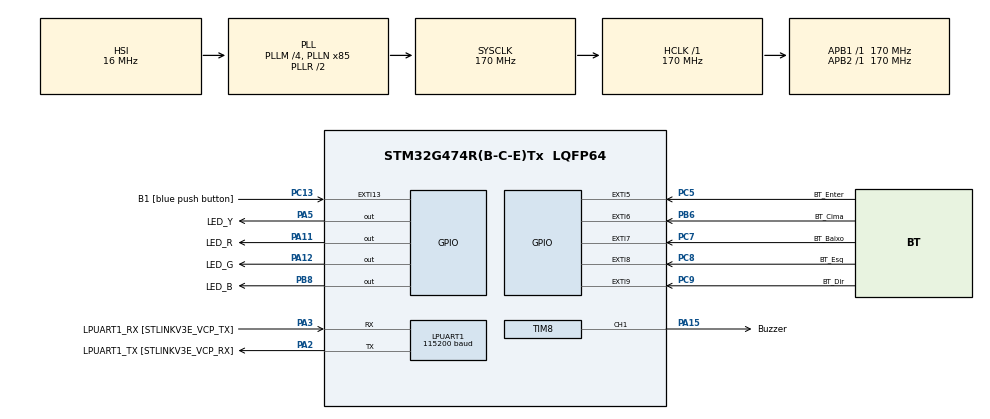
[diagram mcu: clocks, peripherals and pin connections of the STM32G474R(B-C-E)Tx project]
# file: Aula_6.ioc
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LPUART1.BaudRate=115200
LPUART1.WordLength=UART_WORDLENGTH_8B
Mcu.Family=STM32G4
Mcu.Name=STM32G474R(B-C-E)Tx
Mcu.Package=LQFP64
NVIC.EXTI15_10_IRQn=true\:0\:0\:false\:false\:true\:true\:true\:true
NVIC.EXTI9_5_IRQn=true\:0\:0\:false\:false\:true\:true\:true\:true
NVIC.LPUART1_IRQn=true\:0\:0\:false\:false\:true\:true\:true\:true
NVIC.PriorityGroup=NVIC_PRIORITYGROUP_4
NVIC.TIM6_DAC_IRQn=true\:0\:0\:false\:false\:true\:true\:true\:true
PA11.GPIO_Label=LED_R
PA11.Signal=GPIO_Output
PA12.GPIO_Label=LED_G
PA12.Signal=GPIO_Output
PA13.GPIO_Label=T_SWDIO
PA13.Mode=Serial_Wire
PA13.Signal=SYS_JTMS-SWDIO
PA14.GPIO_Label=T_SWCLK
PA14.Mode=Serial_Wire
PA14.Signal=SYS_JTCK-SWCLK
PA15.GPIO_Label=Buzzer
PA15.Signal=S_TIM8_CH1
PA2.GPIO_Label=LPUART1_TX [STLINKV3E_VCP_RX]
PA2.Mode=Asynchronous
PA2.Signal=LPUART1_TX
PA3.GPIO_Label=LPUART1_RX [STLINKV3E_VCP_TX]
PA3.Mode=Asynchronous
PA3.Signal=LPUART1_RX
PA5.GPIO_Label=LED_Y
PA5.Signal=GPIO_Output
PB3.GPIO_Label=T_SWO
PB3.Signal=SYS_JTDO-SWO
PB6.GPIO_Label=BT_Cima
PB6.GPIO_ModeDefaultEXTI=GPIO_MODE_IT_RISING_FALLING
PB6.Signal=GPXTI6
PB8-BOOT0.GPIO_Label=LED_B
PB8-BOOT0.Signal=GPIO_Output
PC13.GPIO_Label=B1 [blue push button]
PC13.GPIO_ModeDefaultEXTI=GPIO_MODE_IT_RISING_FALLING
PC13.Signal=GPXTI13
PC14-OSC32_IN.Mode=LSE-External-Oscillator
PC14-OSC32_IN.Signal=RCC_OSC32_IN
PC15-OSC32_OUT.Mode=LSE-External-Oscillator
PC15-OSC32_OUT.Signal=RCC_OSC32_OUT
PC5.GPIO_Label=BT_Enter
PC5.GPIO_ModeDefaultEXTI=GPIO_MODE_IT_RISING_FALLING
PC5.Signal=GPXTI5
PC7.GPIO_Label=BT_Baixo
PC7.GPIO_ModeDefaultEXTI=GPIO_MODE_IT_RISING_FALLING
PC7.Signal=GPXTI7
PC8.GPIO_Label=BT_Esq
PC8.GPIO_ModeDefaultEXTI=GPIO_MODE_IT_RISING_FALLING
PC8.Signal=GPXTI8
PC9.GPIO_Label=BT_Dir
PC9.GPIO_ModeDefaultEXTI=GPIO_MODE_IT_RISING_FALLING
PC9.Signal=GPXTI9
PF0-OSC_IN.Mode=HSE-External-Oscillator
PF0-OSC_IN.Signal=RCC_OSC_IN
PF1-OSC_OUT.Mode=HSE-External-Oscillator
PF1-OSC_OUT.Signal=RCC_OSC_OUT
ProjectManager.HeapSize=0x200
ProjectManager.StackSize=0x400
ProjectManager.TargetToolchain=STM32CubeIDE
RCC.ADC12Freq_Value=170000000
RCC.ADC345Freq_Value=170000000
RCC.AHBFreq_Value=170000000
RCC.APB1Freq_Value=170000000
RCC.APB1TimFreq_Value=170000000
RCC.APB2Freq_Value=170000000
RCC.APB2TimFreq_Value=170000000
RCC.CortexFreq_Value=170000000
RCC.EXTERNAL_CLOCK_VALUE=12288000
RCC.HCLKFreq_Value=170000000
RCC.HSE_VALUE=24000000
RCC.HSI48_VALUE=48000000
RCC.HSI_VALUE=16000000
RCC.PLLM=RCC_PLLM_DIV4
RCC.PLLN=85
RCC.RTCClockSelection=RCC_RTCCLKSOURCE_LSE
RCC.SYSCLKFreq_VALUE=170000000
RCC.SYSCLKSource=RCC_SYSCLKSOURCE_PLLCLK
RCC.USBFreq_Value=170000000
RCC.VCOOutputFreq_Value=340000000
SH.S_TIM8_CH1.0=TIM8_CH1,PWM Generation1 CH1
TIM2.Channel-Output\ Compare1\ No\ Output=TIM_CHANNEL_1
TIM2.PeriodNoDither=10000-1
TIM2.Prescaler=8500-1
TIM6.PeriodNoDither=1000-1
TIM6.Prescaler=85-1
TIM7.PeriodNoDither=10000-1
TIM7.Prescaler=8500-1
TIM8.Channel-PWM\ Generation1\ CH1=TIM_CHANNEL_1
TIM8.PeriodNoDither=1000-1
TIM8.Prescaler=85-1
TIM8.PulseNoDither_1=500
VP_SYS_VS_DBSignals.Mode=DisableDeadBatterySignals
VP_TIM2_VS_no_output1.Mode=Output Compare1 No Output
VP_TIM6_VS_ClockSourceINT.Mode=Enable_Timer
VP_TIM7_VS_ClockSourceINT.Mode=Enable_Timer
VP_TIM8_VS_ClockSourceINT.Mode=Internal
board=NUCLEO-G474RE

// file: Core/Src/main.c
/* USER CODE BEGIN Header */
/*
******************************************************************************
* @file    : main.c
* @brief   : Arquivo principal com a maquina de estados da maquina de cafe
******************************************************************************
* @author  : Lucca Bastos e Joao Vitor Roque
* @date    : 12-Mar-2026
* @version : 19-Mar-2026
******************************************************************************
*/
/* USER CODE END Header */
#include "main.h"
#include "usart.h"
#include "tim.h"
#include "gpio.h"

/* USER CODE BEGIN Includes */
#include <stdio.h>
#include <string.h>
#include "communicationStateMachine.h"
/* USER CODE END Includes */

/* USER CODE BEGIN PTD */
typedef enum {
  ESTADO_INICIAL, //IDLE
  ESTADO_SELECAO, // SELECTED
  ESTADO_PREPARANDO, //BREWING
  ESTADO_FINALIZANDO, //BIP
  ESTADO_ERRO // QUANTIDADE MÍNIMA AUSENTE
} xEstadoMaquina;

typedef enum {
  NENHUMA,
  EXPRESSO,    // CIMA: Amarelo
  CAPUCCINO,   // BAIXO: Vermelho
  MOCHA,       // ESQUERDA: Verde
  CHOCOLATE    // DIREITA: Azul
} xBebidaSelecionada;

/* USER CODE END PTD */

/* USER CODE BEGIN PV */
unsigned char ucRecBuff;
volatile xEstadoMaquina xEstadoAtual = ESTADO_INICIAL;
volatile xBebidaSelecionada xBebidaAtual = NENHUMA;
volatile uint16_t usContadorTempo = 0;

// Struct com os dados da maquina
MaquinaCafe_t xMaquinaDados = {
  .usCapacidadeMaxPo = 1000,
  .usPoAtualCap = 0,
  .usPoAtualMoc = 0,
  .usPoAtualCho = 0,
  .usPoAtualExp = 0,
  .ucVendasCap = 0,
  .ucVendasMoc = 0,
  .ucVendasCho = 0,
  .ucVendasExp = 0,
  .ucVendasTotais = 0
};
/* USER CODE END PV */

void SystemClock_Config(void);

int main(void)
{

  /* MCU Configuration--------------------------------------------------------*/

  /* Reset of all peripherals, Initializes the Flash interface and the Systick. */
  HAL_Init();

  /* Configure the system clock */
  SystemClock_Config();

  /* Initialize all configured peripherals */
  MX_GPIO_Init();
  MX_LPUART1_UART_Init();
  MX_TIM6_Init();
  MX_TIM7_Init();
  MX_TIM2_Init();
  MX_TIM8_Init();
  /* USER CODE BEGIN 2 */

  // Inicia o timer base 6 com interrupcao
  HAL_TIM_Base_Start_IT(&htim6);

  // Inicia a recepção por interrupção (esperando 1 byte por vez)
  HAL_UART_Receive_IT(&hlpuart1, &ucRecBuff, 1);

  /* USER CODE END 2 */

  /* Infinite loop */
  while (1)
  {

  }
}

void SystemClock_Config(void)
{
  RCC_OscInitTypeDef RCC_OscInitStruct = {0};
  RCC_ClkInitTypeDef RCC_ClkInitStruct = {0};

  /** Configure the main internal regulator output voltage
  */
  HAL_PWREx_ControlVoltageScaling(PWR_REGULATOR_VOLTAGE_SCALE1_BOOST);

  /** Initializes the RCC Oscillators according to the specified parameters
  * in the RCC_OscInitTypeDef structure.
  */
  RCC_OscInitStruct.OscillatorType = RCC_OSCILLATORTYPE_HSI;
  RCC_OscInitStruct.HSIState = RCC_HSI_ON;
  RCC_OscInitStruct.HSICalibrationValue = RCC_HSICALIBRATION_DEFAULT;
  RCC_OscInitStruct.PLL.PLLState = RCC_PLL_ON;
  RCC_OscInitStruct.PLL.PLLSource = RCC_PLLSOURCE_HSI;
  RCC_OscInitStruct.PLL.PLLM = RCC_PLLM_DIV4;
  RCC_OscInitStruct.PLL.PLLN = 85;
  RCC_OscInitStruct.PLL.PLLP = RCC_PLLP_DIV2;
  RCC_OscInitStruct.PLL.PLLQ = RCC_PLLQ_DIV2;
  RCC_OscInitStruct.PLL.PLLR = RCC_PLLR_DIV2;
  if (HAL_RCC_OscConfig(&RCC_OscInitStruct) != HAL_OK)
  {
    Error_Handler();
  }

  /** Initializes the CPU, AHB and APB buses clocks
  */
  RCC_ClkInitStruct.ClockType = RCC_CLOCKTYPE_HCLK|RCC_CLOCKTYPE_SYSCLK
                              |RCC_CLOCKTYPE_PCLK1|RCC_CLOCKTYPE_PCLK2;
  RCC_ClkInitStruct.SYSCLKSource = RCC_SYSCLKSOURCE_PLLCLK;
  RCC_ClkInitStruct.AHBCLKDivider = RCC_SYSCLK_DIV1;
  RCC_ClkInitStruct.APB1CLKDivider = RCC_HCLK_DIV1;
  RCC_ClkInitStruct.APB2CLKDivider = RCC_HCLK_DIV1;

  if (HAL_RCC_ClockConfig(&RCC_ClkInitStruct, FLASH_LATENCY_4) != HAL_OK)
  {
    Error_Handler();
  }
}

/* USER CODE BEGIN 4 */

/**
******************************************************************************
* @method : HAL_TIM_PeriodElapsedCallback
* @brief  : Gerencia o tempo de preparacao das bebidas e controle de hardware
* @param  : htim - Ponteiro para o handler do Timer
* @return : void
******************************************************************************
*/
void HAL_TIM_PeriodElapsedCallback(TIM_HandleTypeDef *htim) {
  // Verifica se a interrupcao veio do TIM6
  if (htim->Instance == TIM6) {
    // Incrementa a variavel de controle de tempo em milissegundos
    usContadorTempo++;

    switch (xEstadoAtual) {
      case ESTADO_INICIAL:
        if (usContadorTempo >= 1000) {
          // Todos os leds piscam a cada 1 segundo aguardando selecao
          HAL_GPIO_TogglePin(LED_R_GPIO_Port, LED_R_Pin);
          HAL_GPIO_TogglePin(LED_G_GPIO_Port, LED_G_Pin);
          HAL_GPIO_TogglePin(LED_B_GPIO_Port, LED_B_Pin);
          HAL_GPIO_TogglePin(LED_Y_GPIO_Port, LED_Y_Pin);
          // Zera o contador de tempo apos os leds piscarem
          usContadorTempo = 0;
        }
        break;

      case ESTADO_PREPARANDO:
        // Verifica se a preparacao da bebida ainda nao chegou a 20s
        if (usContadorTempo < 20000) {
          // A cada 1 segundo pisca o led correspondente
          if (usContadorTempo % 1000 == 0) {
            switch (xBebidaAtual) {
              case EXPRESSO:
                HAL_GPIO_TogglePin(LED_Y_GPIO_Port, LED_Y_Pin);
                break;
              case CAPUCCINO:
                HAL_GPIO_TogglePin(LED_R_GPIO_Port, LED_R_Pin);
                break;
              case MOCHA:
                HAL_GPIO_TogglePin(LED_G_GPIO_Port, LED_G_Pin);
                break;
              case CHOCOLATE:
                HAL_GPIO_TogglePin(LED_B_GPIO_Port, LED_B_Pin);
                break;
              default:
                break;
            }
          }
        } else {
          switch (xBebidaAtual) {
            case EXPRESSO:
              xMaquinaDados.ucVendasExp++;
              xMaquinaDados.ucVendasTotais++;
              xMaquinaDados.usPoAtualExp -= 100;
              break;
            case CAPUCCINO:
              xMaquinaDados.ucVendasCap++;
              xMaquinaDados.ucVendasTotais++;
              xMaquinaDados.usPoAtualCap -= 100;
              break;
            case MOCHA:
              xMaquinaDados.ucVendasMoc++;
              xMaquinaDados.ucVendasTotais++;
              xMaquinaDados.usPoAtualMoc -= 100;
              break;
            case CHOCOLATE:
              xMaquinaDados.ucVendasCho++;
              xMaquinaDados.ucVendasTotais++;
              xMaquinaDados.usPoAtualCho -= 100;
              break;
            default:
              break;
          }

          // Apos os 20s, muda para o estado final e apaga os leds
          xEstadoAtual = ESTADO_FINALIZANDO;
          usContadorTempo = 0;
          HAL_GPIO_WritePin(LED_R_GPIO_Port, LED_R_Pin, GPIO_PIN_RESET);
          HAL_GPIO_WritePin(LED_G_GPIO_Port, LED_G_Pin, GPIO_PIN_RESET);
          HAL_GPIO_WritePin(LED_B_GPIO_Port, LED_B_Pin, GPIO_PIN_RESET);
          HAL_GPIO_WritePin(LED_Y_GPIO_Port, LED_Y_Pin, GPIO_PIN_RESET);
        }
        break;

      case ESTADO_FINALIZANDO:
        // Acionamento do buzzer simulando 3 bipes com intervalos de 500ms
        if (usContadorTempo == 1) {
          HAL_TIM_PWM_Start(&htim8, TIM_CHANNEL_1);
        } else if (usContadorTempo == 500) {
          // Fim do primeiro bip
          HAL_TIM_PWM_Stop(&htim8, TIM_CHANNEL_1);
        } else if (usContadorTempo == 1000) {
          HAL_TIM_PWM_Start(&htim8, TIM_CHANNEL_1);
        } else if (usContadorTempo == 1500) {
          // Fim do segundo bipe
          HAL_TIM_PWM_Stop(&htim8, TIM_CHANNEL_1);
        } else if (usContadorTempo == 2000) {
          HAL_TIM_PWM_Start(&htim8, TIM_CHANNEL_1);
        } else if (usContadorTempo == 2500) {
          // Fim do terceiro bipe
          HAL_TIM_PWM_Stop(&htim8, TIM_CHANNEL_1);
        }
        if (usContadorTempo >= 3000) {
          // Finaliza o ciclo e retorna maquina para estado inicial
          HAL_TIM_PWM_Stop(&htim8, TIM_CHANNEL_1);
          xEstadoAtual = ESTADO_INICIAL;
          xBebidaAtual = NENHUMA;
          usContadorTempo = 0;
        }
        break;

      case ESTADO_ERRO:
        // Acionamento do buzzer 2 vezes rapidamente
        if (usContadorTempo == 1) { // Inicia bip 2
          HAL_TIM_PWM_Start(&htim8, TIM_CHANNEL_1);
        } else if (usContadorTempo == 200) {
          HAL_TIM_PWM_Stop(&htim8, TIM_CHANNEL_1); // Para bip 1
        } else if (usContadorTempo == 400) {
          HAL_TIM_PWM_Start(&htim8, TIM_CHANNEL_1); // Inicia bip 2
        } else if (usContadorTempo == 600) {
          HAL_TIM_PWM_Stop(&htim8, TIM_CHANNEL_1); // Para bip 2
        }

        // Após 1 segundo, retorna para estado inicial piscando as luzes
        if (usContadorTempo >= 1000) {
          HAL_TIM_PWM_Stop(&htim8, TIM_CHANNEL_1);
          xEstadoAtual = ESTADO_INICIAL;
          usContadorTempo = 0;
        }
        break;

      default:
        break;
    }
  }
}

/**
******************************************************************************
* @method : HAL_GPIO_EXTI_Callback
* @brief  : Identifica os botoes para selecao de bebidas e tocar o buzzer
* @param  : GPIO_Pin - Pino do microcontrolador que disparou a interrupcao
* @return : void
******************************************************************************
*/
void HAL_GPIO_EXTI_Callback(uint16_t GPIO_Pin) {
  // Ignora o input dos botoes durante o preparo
  if (xEstadoAtual == ESTADO_PREPARANDO) return;

  GPIO_PinState xEstadoBotao;

  // Mapeia a leitura do botao com a respectiva porta GPIO
  switch (GPIO_Pin) {
    case BT_Cima_Pin:
      // PB6
      xEstadoBotao = HAL_GPIO_ReadPin(GPIOB, GPIO_Pin);
      break;
    default:
      // PC5, PC7, PC8, PC9
      xEstadoBotao = HAL_GPIO_ReadPin(GPIOC, GPIO_Pin);
      break;
  }

  // Aciona o buzzer enquanto o botao estiver sendo mantido pressionado
  if (xEstadoBotao == GPIO_PIN_SET) {
    HAL_TIM_PWM_Start(&htim8, TIM_CHANNEL_1);
  } else {
    HAL_TIM_PWM_Stop(&htim8, TIM_CHANNEL_1);
  }

  // Verifica as funcoes de cada botao apenas no momento em que ele e acionado
  if (xEstadoBotao == GPIO_PIN_SET) {
    switch (GPIO_Pin) {
      case BT_Cima_Pin:
        // Seleciona Expresso e mantem o led amarelo aceso
        xBebidaAtual = EXPRESSO;
        xEstadoAtual = ESTADO_SELECAO;
        HAL_GPIO_WritePin(LED_Y_GPIO_Port, LED_Y_Pin, GPIO_PIN_SET);
        HAL_GPIO_WritePin(LED_R_GPIO_Port, LED_R_Pin, GPIO_PIN_RESET);
        HAL_GPIO_WritePin(LED_G_GPIO_Port, LED_G_Pin, GPIO_PIN_RESET);
        HAL_GPIO_WritePin(LED_B_GPIO_Port, LED_B_Pin, GPIO_PIN_RESET);
        break;

      case BT_Baixo_Pin:
        // Seleciona Capuccino e mantem o led vermelho aceso
        xBebidaAtual = CAPUCCINO;
        xEstadoAtual = ESTADO_SELECAO;
        HAL_GPIO_WritePin(LED_Y_GPIO_Port, LED_Y_Pin, GPIO_PIN_RESET);
        HAL_GPIO_WritePin(LED_R_GPIO_Port, LED_R_Pin, GPIO_PIN_SET);
        HAL_GPIO_WritePin(LED_G_GPIO_Port, LED_G_Pin, GPIO_PIN_RESET);
        HAL_GPIO_WritePin(LED_B_GPIO_Port, LED_B_Pin, GPIO_PIN_RESET);
        break;

      case BT_Esq_Pin:
        // Seleciona Mocha e mantem o led verde aceso
        xBebidaAtual = MOCHA;
        xEstadoAtual = ESTADO_SELECAO;
        HAL_GPIO_WritePin(LED_Y_GPIO_Port, LED_Y_Pin, GPIO_PIN_RESET);
        HAL_GPIO_WritePin(LED_R_GPIO_Port, LED_R_Pin, GPIO_PIN_RESET);
        HAL_GPIO_WritePin(LED_G_GPIO_Port, LED_G_Pin, GPIO_PIN_SET);
        HAL_GPIO_WritePin(LED_B_GPIO_Port, LED_B_Pin, GPIO_PIN_RESET);
        break;

      case BT_Dir_Pin:
        // Seleciona Chocolate e mantem o led azul aceso
        xBebidaAtual = CHOCOLATE;
        xEstadoAtual = ESTADO_SELECAO;
        HAL_GPIO_WritePin(LED_Y_GPIO_Port, LED_Y_Pin, GPIO_PIN_RESET);
        HAL_GPIO_WritePin(LED_R_GPIO_Port, LED_R_Pin, GPIO_PIN_RESET);
        HAL_GPIO_WritePin(LED_G_GPIO_Port, LED_G_Pin, GPIO_PIN_RESET);
        HAL_GPIO_WritePin(LED_B_GPIO_Port, LED_B_Pin, GPIO_PIN_SET);
        break;

      case BT_Enter_Pin:
        // Se uma bebida foi escolhida, o botao Enter inicia o preparo
        if ((xEstadoAtual == ESTADO_SELECAO) && (xBebidaAtual != NENHUMA)) {

          int poSuficiente = 0;

          if (xBebidaAtual == EXPRESSO && xMaquinaDados.usPoAtualExp >= 100) poSuficiente = 1;
          else if (xBebidaAtual == CAPUCCINO && xMaquinaDados.usPoAtualCap >= 100) poSuficiente = 1;
          else if (xBebidaAtual == MOCHA && xMaquinaDados.usPoAtualMoc >= 100) poSuficiente = 1;
          else if (xBebidaAtual == CHOCOLATE && xMaquinaDados.usPoAtualCho >= 100) poSuficiente = 1;

          if (poSuficiente == 1) {
            xEstadoAtual = ESTADO_PREPARANDO;
            usContadorTempo = 0;
            HAL_TIM_PWM_Stop(&htim8, TIM_CHANNEL_1);
          } else {
            // Sem pó suficiente! Cancela a operação e volta pro início.
            xEstadoAtual = ESTADO_ERRO;
            usContadorTempo = 0;
            xBebidaAtual = NENHUMA;

            // Apaga os LEDs para mostrar pro usuário que o pedido foi cancelado
            HAL_GPIO_WritePin(LED_Y_GPIO_Port, LED_Y_Pin, GPIO_PIN_RESET);
            HAL_GPIO_WritePin(LED_R_GPIO_Port, LED_R_Pin, GPIO_PIN_RESET);
            HAL_GPIO_WritePin(LED_G_GPIO_Port, LED_G_Pin, GPIO_PIN_RESET);
            HAL_GPIO_WritePin(LED_B_GPIO_Port, LED_B_Pin, GPIO_PIN_RESET);

            HAL_TIM_PWM_Stop(&htim8, TIM_CHANNEL_1);
          }

        }
        break;

      default:
        break;
    }
  }
}

/**
******************************************************************************
* @method : HAL_UART_RxCpltCallback
* @brief  : Callback chamado ao finalizar o recebimento por UART
* @param  : huart - Ponteiro do handler da UART
* @return : void
******************************************************************************
*/
void HAL_UART_RxCpltCallback (UART_HandleTypeDef * huart){
  if(huart == &hlpuart1)
  {
    HAL_UART_Transmit(&hlpuart1, &ucRecBuff, 1, 10);
    vCommunicationStateMachineProcessByteCommunication(ucRecBuff);
    HAL_UART_Receive_IT(&hlpuart1, &ucRecBuff, 1);
  }

}

/* USER CODE END 4 */

void Error_Handler(void)
{
  __disable_irq();
  while (1)
  {
  }
}
